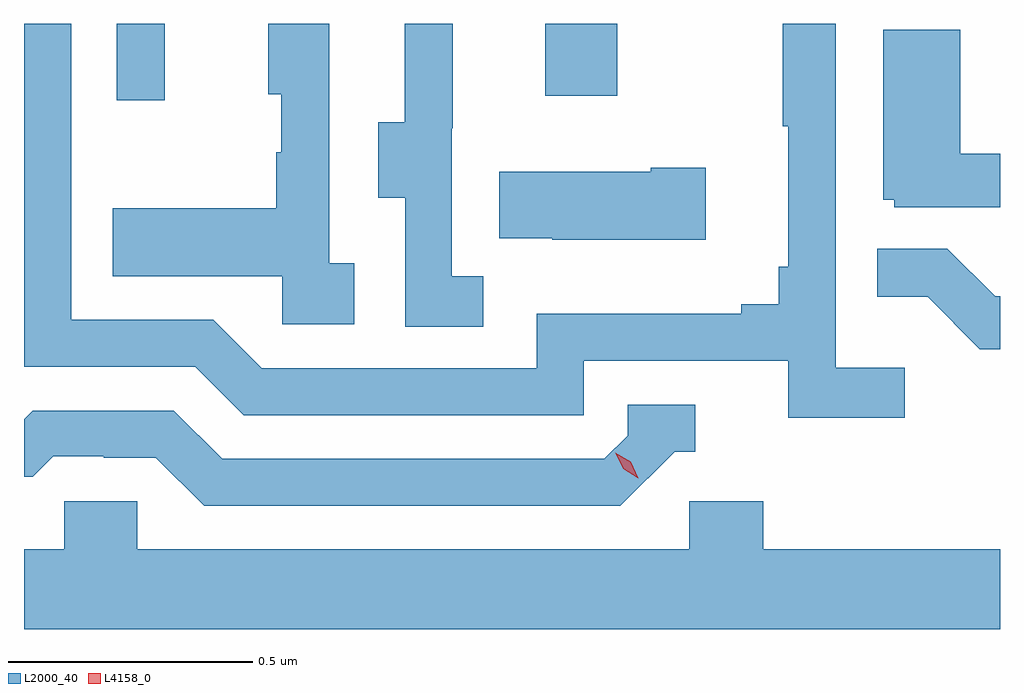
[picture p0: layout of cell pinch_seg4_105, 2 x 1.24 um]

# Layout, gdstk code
import gdstk
lib = gdstk.Library(unit=1e-6, precision=1e-09)
def R(c, l, rs):  # rectangles x0, y0, x1, y1
    for r in rs: c.add(gdstk.rectangle(r[:2], r[2:], *l))
def P(c, l, *ps):  # polygons
    for p in ps: c.add(gdstk.Polygon(p, *l))
L2000_40 = (2000, 40)
L4158_0 = (4158, 0)

pinch_seg4_105 = lib.new_cell('pinch_seg4_105')
R(pinch_seg4_105, L2000_40, [(1045.113,808.56,1045.211,808.717), (1045.991,808.569,1046.139,808.717)])
P(pinch_seg4_105, L2000_40, [(1045.6,808.226),(1045.548,808.226),(1045.548,808.717),(1045.424,808.717),(1045.424,808.572),(1045.45,808.572),(1045.45,808.454),(1045.44,808.454),(1045.44,808.339),(1045.105,808.339),(1045.105,808.199),(1045.452,808.199),(1045.452,808.101),(1045.6,808.101)],
  [(1046.728,808.012),(1046.586,808.012),(1046.586,808.717),(1046.478,808.717),(1046.478,808.507),(1046.489,808.507),(1046.489,808.219),(1046.47,808.219),(1046.47,808.142),(1046.393,808.142),(1046.393,808.123),(1045.974,808.123),(1045.974,808.011),(1045.41,808.011),(1045.311,808.11),(1045.02,808.11),(1045.02,808.717),(1044.923,808.717),(1044.923,808.623),(1044.924,808.623),(1044.924,808.014),(1045.274,808.014),(1045.373,807.915),(1046.07,807.915),(1046.07,808.026),(1046.489,808.026),(1046.489,807.91),(1046.728,807.91)],
  [(1045.864,808.199),(1045.8,808.199),(1045.8,808.503),(1045.802,808.503),(1045.802,808.717),(1045.703,808.717),(1045.703,808.515),(1045.649,808.515),(1045.649,808.36),(1045.704,808.36),(1045.704,808.096),(1045.864,808.096)],
  [(1046.923,808.45),(1046.842,808.45),(1046.842,808.705),(1046.684,808.705),(1046.684,808.356),(1046.706,808.356),(1046.706,808.341),(1046.923,808.341)],
  [(1046.32,808.422),(1046.207,808.422),(1046.207,808.414),(1045.897,808.414),(1045.897,808.277),(1046.005,808.277),(1046.005,808.274),(1046.32,808.274)],
  [(1046.923,808.158),(1046.913,808.158),(1046.815,808.256),(1046.671,808.256),(1046.671,808.157),(1046.775,808.157),(1046.882,808.05),(1046.923,808.05)],
  [(1046.256,807.84),(1046.299,807.84),(1046.299,807.936),(1046.16,807.936),(1046.16,807.873),(1046.112,807.825),(1045.329,807.825),(1045.23,807.924),(1044.941,807.924),(1044.923,807.906),(1044.923,807.789),(1044.941,807.789),(1044.983,807.831),(1045.086,807.831),(1045.086,807.828),(1045.193,807.828),(1045.292,807.729),(1046.145,807.729)],
  [(1046.923,807.64),(1046.438,807.64),(1046.438,807.738),(1046.286,807.738),(1046.286,807.64),(1045.155,807.64),(1045.155,807.738),(1045.005,807.738),(1045.005,807.64),(1044.923,807.64),(1044.923,807.476),(1046.923,807.476)])
P(pinch_seg4_105, L4158_0, [(1046.182,807.786),(1046.151,807.805),(1046.135,807.838),(1046.135,807.838),(1046.135,807.838),(1046.166,807.819),(1046.182,807.786),(1046.182,807.786)])

lib.write_gds('pinch_seg4_105.gds')
